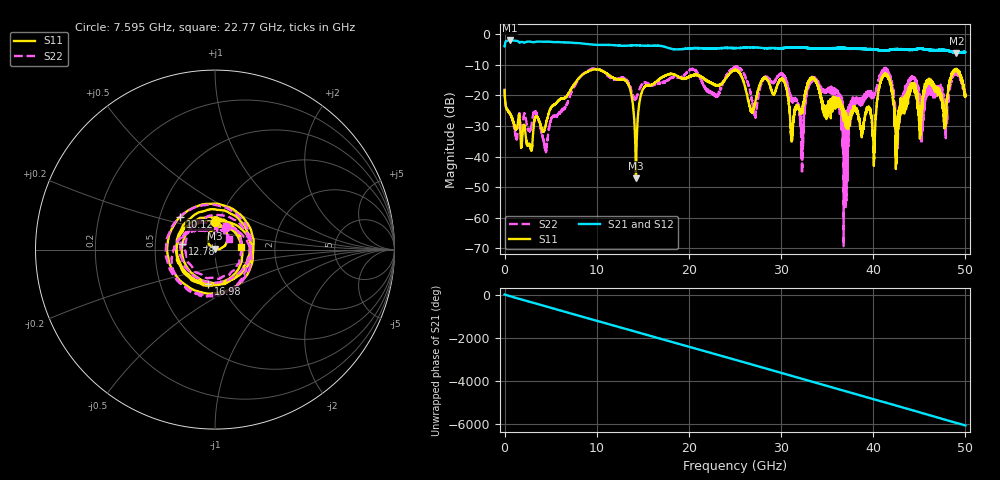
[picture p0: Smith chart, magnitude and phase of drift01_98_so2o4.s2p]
!Created with skrf (http://scikit-rf.org).
# Hz S RI R 50.0
!freq ReS11 ImS11 ReS21 ImS21 ReS12 ImS12 ReS22 ImS22
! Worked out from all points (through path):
!   10001 points, 300 kHz to 50 GHz, reference 50 ohm
!   highest |S21| = -2.00 dB at 570.3 MHz (marker M1); lowest = -6.1 dB at 49.04 GHz (marker M2)
!   group delay of S21, straight-line fit = 336 ps
!   lowest |S11| = -47.2 dB at 14.26 GHz (marker M3), VSWR 1.01, Z = 50 + j0.437 ohm
!   |S11| at or under -10 dB: start of sweep to end of sweep
!   |S22| runs from -69.3 to -10.5 dB; largest |S21 - S12| = 0.022
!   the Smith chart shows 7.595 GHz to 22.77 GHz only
!   S11 on the Smith chart (normalised r, x): 7.595 GHz: 0.95, +0.30; 10.12 GHz: 0.64, +0.25; 12.78 GHz: 0.69, +0.04; 16.98 GHz: 0.86, -0.34; 22.77 GHz: 1.35, +0.03
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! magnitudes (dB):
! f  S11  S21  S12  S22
! 300 kHz  -18.3  -4.0  -4.0  -17.8
! 570.3 MHz  -26.0  -2.0  -2.0  -26.0
! 4.445 GHz  -29.8  -2.4  -2.4  -37.3
! 7.595 GHz  -16.2  -2.8  -2.8  -16.9
! 8.335 GHz  -13.5  -3.0  -3.0  -13.5
! 10.12 GHz  -11.5  -3.4  -3.4  -11.4
! 12.78 GHz  -14.7  -3.7  -3.8  -14.3
! 14.26 GHz  -47.2  -3.6  -3.6  -21.1
! 16.67 GHz  -14.9  -3.7  -3.7  -15.8
! 16.98 GHz  -14.2  -3.8  -3.8  -15.7
! 22.77 GHz  -16.6  -4.6  -4.6  -20.1
! 25 GHz  -11.6  -4.5  -4.5  -10.9
! 27.15 GHz  -22.5  -4.3  -4.3  -26.0
! 30.2 GHz  -15.0  -4.5  -4.5  -13.2
! 32.26 GHz  -25.2  -4.3  -4.4  -40.2
! 33.34 GHz  -14.2  -4.6  -4.6  -14.6
! 37.02 GHz  -27.3  -4.5  -4.6  -33.5
! 40.07 GHz  -43.1  -4.9  -4.9  -19.9
! 41.67 GHz  -14.1  -5.1  -5.1  -12.8
! 42.56 GHz  -33.9  -4.8  -4.8  -28.2
! 49.04 GHz  -11.7  -6.1  -6.0  -12.4
! 50 GHz  -20.1  -5.8  -5.8  -20.1
